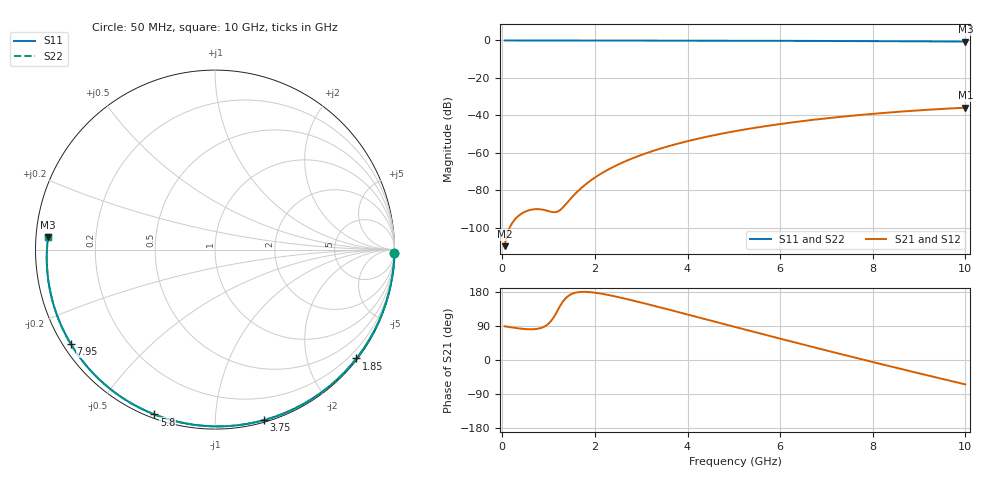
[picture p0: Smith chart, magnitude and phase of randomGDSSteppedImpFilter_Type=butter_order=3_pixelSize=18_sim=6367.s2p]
! freq	dB(S11)	phase(S11)	dB(S12)	phase(S12)
!  dB(S21)	phase(S21)	dB(S22)	phase(S22)
!S-par simulation data
#  GHz  S  DB  R 50
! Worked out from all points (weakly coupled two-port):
!   200 points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, 50 MHz to 10 GHz, reference 50 ohm
!   highest |S21| = -35.88 dB at 10 GHz (marker M1); lowest = -109.7 dB at 50 MHz (marker M2)
!   lowest |S11| = -0.6 dB at 10 GHz (marker M3), VSWR 28.84, Z = 1.74 + j1.87 ohm
!   |S11| at or under -10 dB: nowhere
!   |S22| runs from -0.6 to 0.0 dB; largest |S21 - S12| = 0
!   S11 on the Smith chart (normalised r, x): 50 MHz: open; 1.85 GHz: 0.03, -2.94; 3.75 GHz: 0.02, -1.33; 5.8 GHz: 0.02, -0.70; 7.95 GHz: 0.02, -0.30; 10 GHz: 0.03, +0.04
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0.05  -0.00 -1.0  -109.73 89.0  -109.73 89.0  -0.00 -1.0
0.4  -0.01 -8.3  -92.63 82.7  -92.63 82.7  -0.01 -8.3
0.8  -0.02 -16.5  -90.01 83.3  -90.01 83.3  -0.02 -16.5
1.2  -0.03 -24.6  -91.25 132.0  -91.25 132.0  -0.03 -24.6
1.65  -0.04 -33.6  -79.96 179.1  -79.96 179.1  -0.04 -33.6
1.75  -0.05 -35.6  -77.76 179.9  -77.76 179.9  -0.05 -35.6
1.85  -0.05 -37.6  -75.77 179.5  -75.77 179.5  -0.05 -37.6
2.15  -0.06 -43.5  -70.78 174.8  -70.78 174.8  -0.06 -43.5
2.5  -0.06 -50.3  -66.21 166.1  -66.21 166.1  -0.06 -50.3
2.9  -0.08 -58.0  -62.01 154.6  -62.01 154.6  -0.08 -58.0
3.4  -0.09 -67.4  -57.79 139.2  -57.79 139.2  -0.09 -67.4
3.75  -0.10 -73.9  -55.30 128.1  -55.30 128.1  -0.10 -73.9
4.4  -0.12 -85.7  -51.43 107.3  -51.43 107.3  -0.12 -85.7
5.05  -0.15 -97.2  -48.28 86.5  -48.28 86.5  -0.15 -97.2
5.8  -0.19 -110.2  -45.29 62.6  -45.29 62.6  -0.19 -110.2
6.7  -0.25 -125.5  -42.38 34.4  -42.38 34.4  -0.25 -125.5
7.35  -0.30 -136.6  -40.64 14.4  -40.64 14.4  -0.30 -136.5
7.95  -0.35 -146.8  -39.25 -3.8  -39.25 -3.8  -0.35 -146.8
8.35  -0.39 -153.8  -38.43 -15.9  -38.43 -15.9  -0.39 -153.8
9.2  -0.49 -169.0  -36.96 -41.1  -36.96 -41.1  -0.49 -169.0
9.6  -0.55 -176.5  -36.38 -52.8  -36.38 -52.8  -0.55 -176.5
10  -0.60 175.7  -35.88 -64.4  -35.88 -64.4  -0.60 175.7
